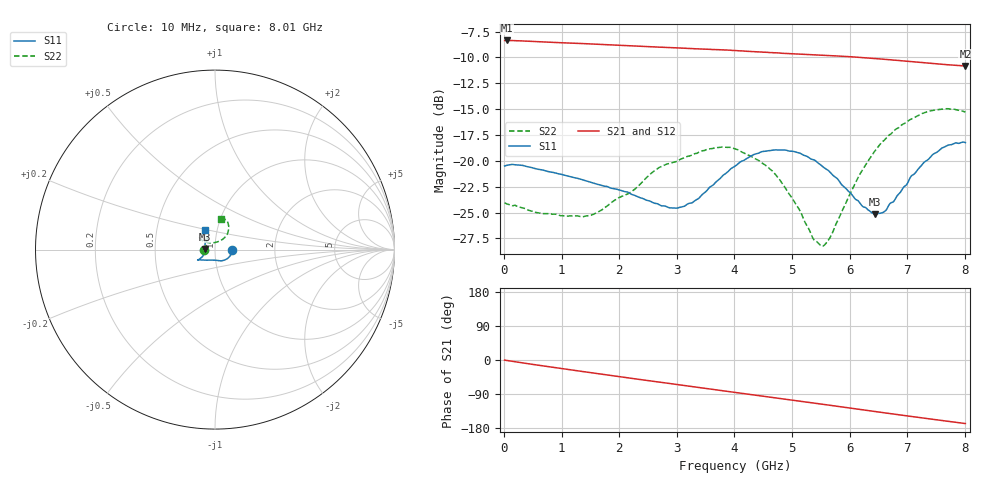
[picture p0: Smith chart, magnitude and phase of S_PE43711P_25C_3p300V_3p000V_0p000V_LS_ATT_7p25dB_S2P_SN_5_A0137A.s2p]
! Device ID: PE43711P
! File Path: z:\PE43711P\CHAR_NOM_04282014\AMB\3p300\LS_ATT_7p25dB\PE43711P_AMB_3p300V_3p000V_0p000V_LS_ATT_7p25dB_S2P_SN_5_A0137A.s2p
! Serial: 5
! Lot: A0137A
! Temp: 25C
! VDD: 3.300
! VSS: 0.000
! Control_Hi: 3.000
! Control_Lo: 0.000
! Attenuation Step: 7.25dB
! Port 1: RF1
! Port 2: RF2
! ThroughPath:1-2
! IDD: 0.0001280229
! ISS: -1.221e-007
#  Hz  S  RI  R  50
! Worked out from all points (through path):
!   801 points, 10 MHz to 8.01 GHz, reference 50 ohm
!   highest |S21| = -8.36 dB at 50 MHz (marker M1); lowest = -10.8 dB at 8.01 GHz (marker M2)
!   group delay of S21, straight-line fit = 57.8 ps
!   lowest |S11| = -25.2 dB at 6.44 GHz (marker M3), VSWR 1.12, Z = 44.8 + j0.311 ohm
!   |S11| at or under -10 dB: start of sweep to end of sweep
!   |S22| runs from -28.3 to -15.0 dB; largest |S21 - S12| = 0.00053
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1e7  0.0944 -0.000388  0.3818 -0.0019  0.3821 -0.00193  -0.0628 0.000519
5e7  0.0951 -0.00239  0.3818 -0.00824  0.382 -0.00819  -0.0619 0.00173
6.4e8  0.0833 -0.0359  0.3637 -0.0959  0.364 -0.0959  -0.0554 0.00568
1.35e9  0.0581 -0.0566  0.3193 -0.1851  0.3196 -0.1852  -0.0499 0.0198
2.19e9  0.0303 -0.0626  0.2411 -0.2672  0.2414 -0.2673  -0.045 0.054
2.68e9  0.0119 -0.0604  0.1879 -0.3006  0.188 -0.3008  -0.0498 0.0778
2.98e9  -0.0043 -0.0589  0.1531 -0.3168  0.1532 -0.317  -0.056 0.0815
3.27e9  -0.0225 -0.0586  0.1177 -0.3281  0.118 -0.3284  -0.0634 0.0861
3.68e9  -0.053 -0.0587  0.0675 -0.3381  0.0674 -0.3383  -0.0786 0.0847
4.01e9  -0.0747 -0.0573  0.0261 -0.3403  0.0259 -0.3405  -0.0873 0.0737
4.34e9  -0.0908 -0.0572  -0.0143 -0.3368  -0.0143 -0.3371  -0.0829 0.0618
4.69e9  -0.0967 -0.0581  -0.0555 -0.3282  -0.0556 -0.3283  -0.0712 0.0504
5.12e9  -0.0933 -0.0569  -0.1033 -0.3114  -0.1034 -0.3115  -0.0424 0.0405
5.35e9  -0.0872 -0.0521  -0.1276 -0.2997  -0.1277 -0.3001  -0.0216 0.0371
5.51e9  -0.0815 -0.0489  -0.144 -0.2904  -0.1441 -0.2906  -0.00598 0.0383
5.62e9  -0.0778 -0.0457  -0.1551 -0.2836  -0.155 -0.2838  0.00533 0.0406
6.15e9  -0.061 -0.0194  -0.2031 -0.2432  -0.2032 -0.2433  0.0521 0.0652
6.44e9  -0.055 0.00346  -0.2245 -0.2171  -0.2247 -0.2173  0.0689 0.0878
6.68e9  -0.0553 0.0259  -0.2394 -0.1946  -0.2394 -0.1947  0.075 0.1095
7.05e9  -0.0574 0.0597  -0.2578 -0.1576  -0.2576 -0.1577  0.075 0.1393
7.45e9  -0.0596 0.0896  -0.2711 -0.1172  -0.2712 -0.1172  0.0608 0.1645
8.01e9  -0.0536 0.1102  -0.2808 -0.0611  -0.2809 -0.0606  0.0332 0.1688
